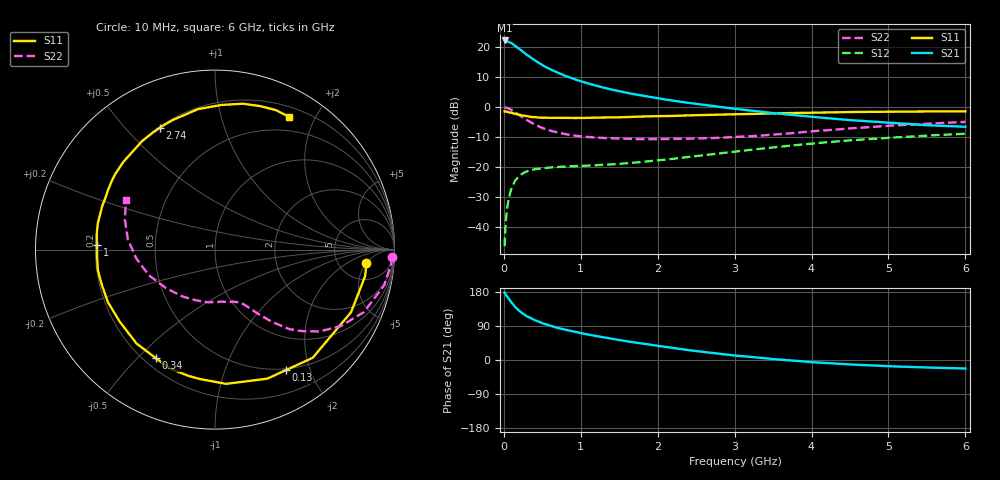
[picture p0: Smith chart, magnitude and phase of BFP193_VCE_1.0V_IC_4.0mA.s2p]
! Infineon Technologies  Discrete & RF Semiconductors
! BFP193
! VCE = 1.0 V,  IC =  4.0 mA
! Common Emitter S-Parameters:  Jan 2016
# GHz  S  MA  R  50
!  f  S11  S21  S12  S22
! GHz  MAG  ANG  MAG  ANG  MAG  ANG  MAG  ANG
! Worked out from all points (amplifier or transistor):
!   210 points, 10 MHz to 6 GHz, reference 50 ohm
!   highest |S21| = 22.2 dB at 10 MHz (marker M1)
!   |S21| within 3 dB of that: start of sweep to 212.2 MHz
!   unconditionally stable (mu >= 1): 1.302 GHz to 3.922 GHz
!   at 185 MHz: K = 0.19, MSG = 21.6 dB, |S12| = -23.4 dB
!   at 1.52 GHz: K = 1.09, MAG = 10.2 dB, |S12| = -18.9 dB
!   at 6 GHz: K = 0.98, MSG = 1.2 dB, |S12| = -8.9 dB
!   S11 on the Smith chart (normalised r, x): 10 MHz: 9, -5; 130 MHz: 0.48, -1.64; 340 MHz: 0.25, -0.57; 1 GHz: 0.21, +0.02; 2.74 GHz: 0.20, +0.63; 6 GHz: 0.32, +1.66
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0.01  0.8471 -5.2  12.91 178.0  0.0048 87.9  0.9888 -2.4
0.02  0.8493 -10.0  12.59 173.7  0.0096 83.7  0.9846 -4.8
0.05  0.8345 -24.7  12.45 165.1  0.0238 76.8  0.9633 -11.9
0.1  0.8123 -47.9  11.68 151.6  0.0444 65.7  0.8995 -22.8
0.13  0.7788 -59.7  10.89 144.5  0.0537 59.3  0.849 -27.8
0.15  0.7759 -67.9  10.46 139.2  0.0601 56.2  0.8192 -31.4
0.2  0.7506 -85.3  9.427 129.7  0.0711 48.8  0.7389 -38.1
0.26  0.719 -101.8  8.128 120.4  0.0803 41.9  0.6525 -43.9
0.34  0.689 -118.4  6.851 111.7  0.0876 36.2  0.5685 -48.7
0.4  0.682 -129.9  6.05 105.2  0.0919 32.8  0.5119 -51.8
0.5  0.6655 -142.8  5 97.1  0.0954 29.1  0.4479 -55.2
0.6  0.6647 -153.8  4.279 90.6  0.0985 27.0  0.4056 -57.6
0.8  0.6625 -170.0  3.31 79.8  0.1021 25.0  0.3542 -61.3
1  0.6582 177.6  2.693 71.0  0.1048 25.0  0.3253 -65.3
1.02  0.659 176.5  2.647 70.2  0.105 25.1  0.3235 -65.7
1.4  0.6734 158.8  1.958 56.2  0.1107 27.7  0.3033 -74.2
2.02  0.7068 135.9  1.389 36.9  0.1303 33.6  0.2918 -91.4
2.74  0.7451 114.4  1.033 17.9  0.1652 36.3  0.3051 -115.6
3.1  0.763 105.6  0.908 10.2  0.1869 35.4  0.3214 -128.5
4.1  0.8094 85.8  0.67 -6.8  0.2527 28.7  0.4023 -162.1
5.1  0.8393 71.3  0.537 -17.1  0.3128 17.8  0.4952 170.8
6  0.8468 60.9  0.47 -22.4  0.3595 7.1  0.5669 151.0
